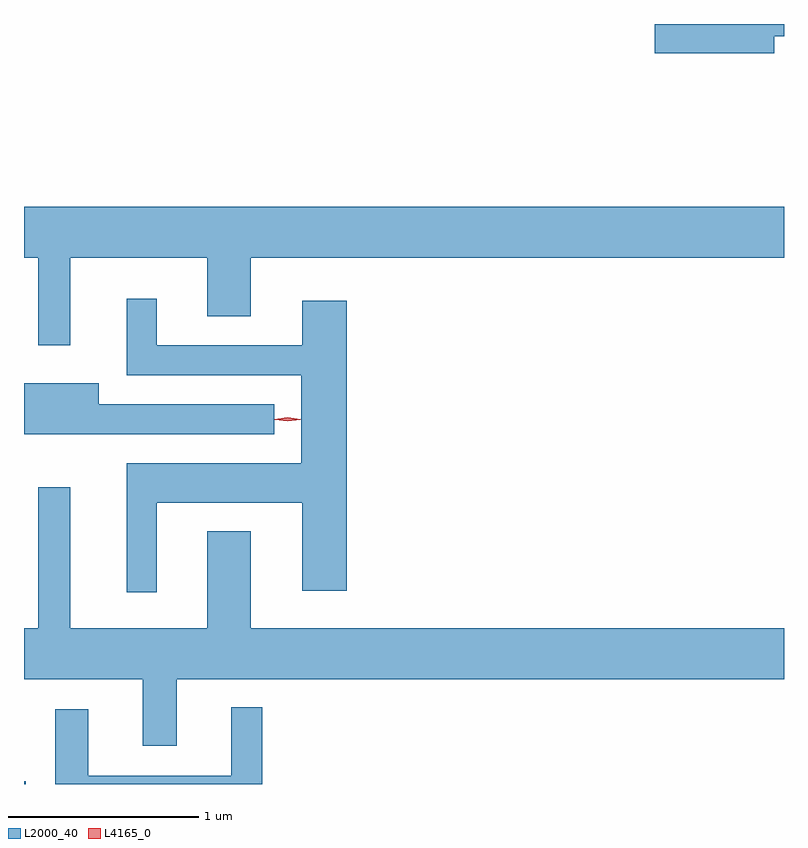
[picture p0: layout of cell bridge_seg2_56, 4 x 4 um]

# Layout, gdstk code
import gdstk
lib = gdstk.Library(unit=1e-6, precision=1e-09)
def R(c, l, rs):  # rectangles x0, y0, x1, y1
    for r in rs: c.add(gdstk.rectangle(r[:2], r[2:], *l))
def P(c, l, *ps):  # polygons
    for p in ps: c.add(gdstk.Polygon(p, *l))
L2000_40 = (2000, 40)
L4165_0 = (4165, 0)

bridge_seg2_56 = lib.new_cell('bridge_seg2_56')
R(bridge_seg2_56, L2000_40, [(1286.426,1025.565,1286.434,1025.579)])
P(bridge_seg2_56, L2000_40, [(1290.374,1029.501),(1290.426,1029.501),(1290.426,1029.565),(1289.746,1029.565),(1289.746,1029.411),(1290.374,1029.411)],
  [(1286.669,1028.336),(1287.391,1028.336),(1287.391,1028.026),(1287.619,1028.026),(1287.619,1028.336),(1290.426,1028.336),(1290.426,1028.604),(1286.426,1028.604),(1286.426,1028.336),(1286.501,1028.336),(1286.501,1027.873),(1286.669,1027.873)],
  [(1287.124,1027.046),(1287.891,1027.046),(1287.891,1026.581),(1288.124,1026.581),(1288.124,1028.109),(1287.891,1028.109),(1287.891,1027.874),(1287.124,1027.874),(1287.124,1028.118),(1286.966,1028.118),(1286.966,1027.716),(1287.886,1027.716),(1287.886,1027.254),(1286.966,1027.254),(1286.966,1026.573),(1287.124,1026.573)],
  [(1287.743,1027.564),(1286.819,1027.564),(1286.819,1027.674),(1286.426,1027.674),(1286.426,1027.406),(1287.743,1027.406)],
  [(1287.229,1026.116),(1290.426,1026.116),(1290.426,1026.384),(1287.619,1026.384),(1287.619,1026.894),(1287.391,1026.894),(1287.391,1026.384),(1286.669,1026.384),(1286.669,1027.128),(1286.501,1027.128),(1286.501,1026.384),(1286.426,1026.384),(1286.426,1026.116),(1287.051,1026.116),(1287.051,1025.766),(1287.229,1025.766)],
  [(1287.679,1025.968),(1287.516,1025.968),(1287.516,1025.609),(1286.764,1025.609),(1286.764,1025.959),(1286.591,1025.959),(1286.591,1025.565),(1287.679,1025.565)])
P(bridge_seg2_56, L4165_0, [(1287.813,1027.475),(1287.744,1027.484),(1287.744,1027.485),(1287.744,1027.485),(1287.813,1027.495),(1287.882,1027.485),(1287.882,1027.485),(1287.882,1027.484)],
  [(1287.813,1027.474),(1287.747,1027.483),(1287.747,1027.484),(1287.747,1027.484),(1287.813,1027.494),(1287.879,1027.484),(1287.879,1027.484),(1287.879,1027.483)])

lib.write_gds('bridge_seg2_56.gds')
